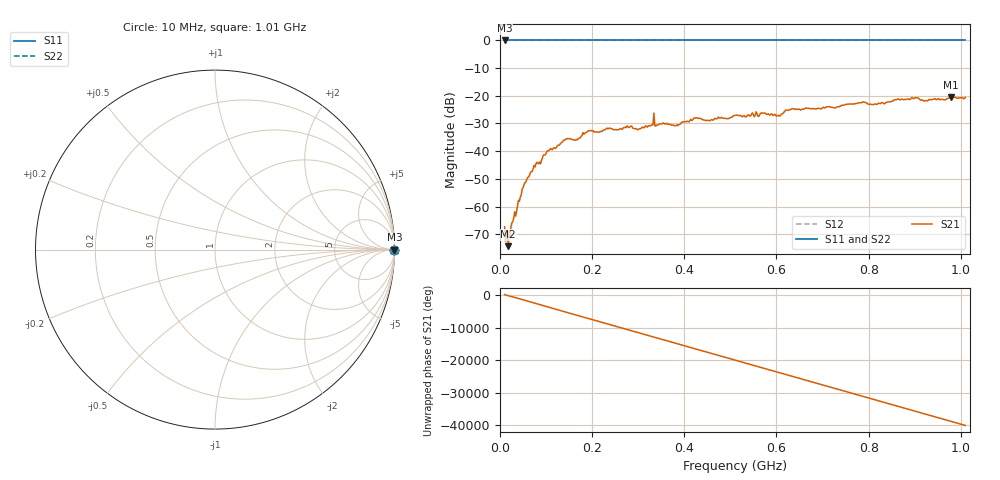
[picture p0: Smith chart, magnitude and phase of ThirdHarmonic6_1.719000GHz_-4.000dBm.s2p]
! 8/16/2025 8:41:09 PM
! C:\ANRITSUVNA\TEMP\TEMP.S2P
! CHANNEL.1
! TR.MEASUREMENT
! RAW.DATA
! RF.CORRECTION.OFF
! AVERAGING.OFF
! IF.BANDWIDTH: 5KHZ
! SWEEPTYPE:  FREQ.SWEEP(Linear)
! Reference Plane Port Info
! PORT:  PORT1  PORT2
! DISTANCE:  0  m  0  m
! TIME:  0  s  0  s
! PHASE.OFFSET:  0  deg.  0  deg.
! LOSS:  0  dB  0  dB
! REF.LOSS:  0  dB  0  dB
! REF.FREQ:  0  Hz  0  Hz
! Power Info
! POWER:  -20  dBm  -20  dBm
! EFF.POWER:  -20  dBm  -20  dBm
! SOURCE.ATTEN:  0  dB  0  dB
! TEST.ATTEN:  0  dB  0  dB
# GHZ S RI R 50.0
! FREQ.GHZ  S11RE  S11IM  S21RE  S21IM  S12RE  S12IM  S22RE  S22IM
!; PortSelection: Port_12
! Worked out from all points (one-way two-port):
!   501 points, 10 MHz to 1.01 GHz, reference 50 ohm
!   highest |S21| = -20.43 dB at 978 MHz (marker M1); lowest = -74.3 dB at 18 MHz (marker M2)
!   lowest |S11| = 0.0 dB at 10 MHz (marker M3)
!   |S11| at or under -10 dB: nowhere
!   |S22| runs from 0.0 to 0.0 dB; largest |S21 - S12| = 1.1
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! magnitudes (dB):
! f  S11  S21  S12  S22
! 10 MHz  0.0  -67.3  0.0  0.0
! 14 MHz  0.0  -69.2  0.0  0.0
! 18 MHz  0.0  -74.3  0.0  0.0
! 52 MHz  0.0  -52.2  0.0  0.0
! 76 MHz  0.0  -45.7  0.0  0.0
! 106 MHz  0.0  -39.8  0.0  0.0
! 142 MHz  0.0  -35.9  0.0  0.0
! 164 MHz  0.0  -36.1  0.0  0.0
! 178 MHz  0.0  -34.3  0.0  0.0
! 196 MHz  0.0  -32.6  0.0  0.0
! 302 MHz  0.0  -31.9  0.0  0.0
! 344 MHz  0.0  -30.5  0.0  0.0
! 382 MHz  0.0  -30.7  0.0  0.0
! 424 MHz  0.0  -28.0  0.0  0.0
! 452 MHz  0.0  -28.8  0.0  0.0
! 510 MHz  0.0  -27.1  0.0  0.0
! 604 MHz  0.0  -27.1  0.0  0.0
! 632 MHz  0.0  -24.8  0.0  0.0
! 678 MHz  0.0  -24.7  0.0  0.0
! 844 MHz  0.0  -22.2  0.0  0.0
! 978 MHz  0.0  -20.4  0.0  0.0
! 1.01 GHz  0.0  -20.6  0.0  0.0
